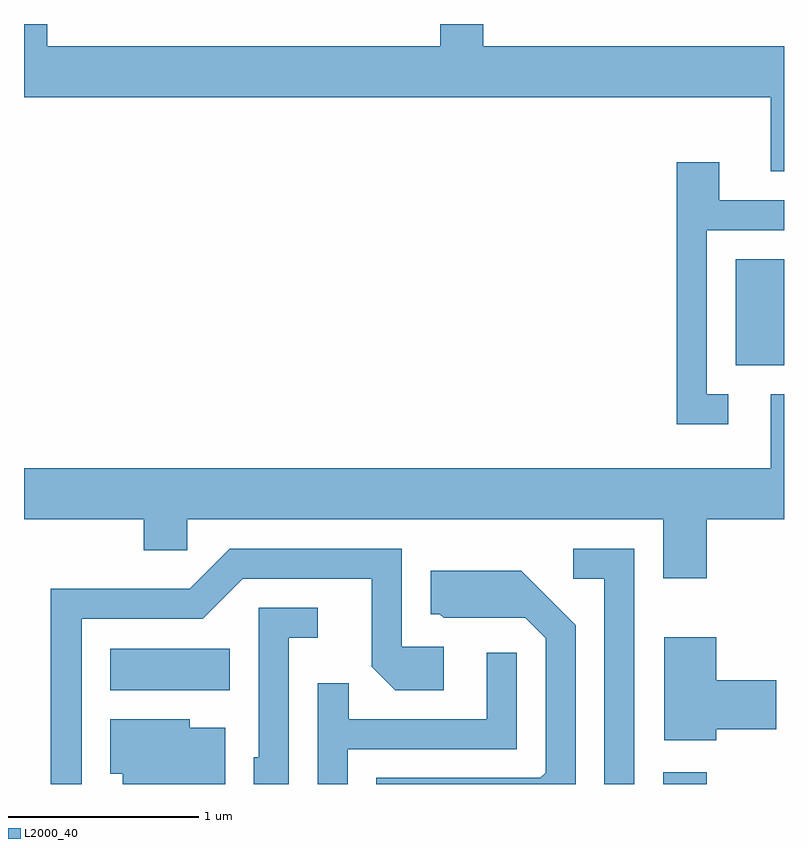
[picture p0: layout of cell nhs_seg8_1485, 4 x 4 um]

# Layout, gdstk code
import gdstk
lib = gdstk.Library(unit=1e-6, precision=1e-09)
def R(c, l, rs):  # rectangles x0, y0, x1, y1
    for r in rs: c.add(gdstk.rectangle(r[:2], r[2:], *l))
def P(c, l, *ps):  # polygons
    for p in ps: c.add(gdstk.Polygon(p, *l))
L2000_40 = (2000, 40)

nhs_seg8_1485 = lib.new_cell('nhs_seg8_1485')
R(nhs_seg8_1485, L2000_40, [(232.976,1848.342,233.204,1848.404), (230.066,1848.836,230.694,1849.054), (233.356,1850.546,233.611,1851.104)])
P(nhs_seg8_1485, L2000_40, [(233.611,1852.224),(232.029,1852.224),(232.029,1852.342),(231.801,1852.342),(231.801,1852.224),(229.734,1852.224),(229.734,1852.342),(229.611,1852.342),(229.611,1851.956),(233.541,1851.956),(233.541,1851.566),(233.611,1851.566)],
  [(233.318,1850.394),(233.204,1850.394),(233.204,1851.256),(233.611,1851.256),(233.611,1851.414),(233.269,1851.414),(233.269,1851.614),(233.046,1851.614),(233.046,1850.236),(233.318,1850.236)],
  [(233.611,1850.394),(233.541,1850.394),(233.541,1850.004),(229.611,1850.004),(229.611,1849.736),(230.241,1849.736),(230.241,1849.571),(230.469,1849.571),(230.469,1849.736),(232.976,1849.736),(232.976,1849.426),(233.204,1849.426),(233.204,1849.736),(233.611,1849.736)],
  [(229.914,1849.211),(230.552,1849.211),(230.762,1849.421),(231.441,1849.421),(231.441,1848.959),(231.564,1848.836),(231.819,1848.836),(231.819,1849.064),(231.599,1849.064),(231.599,1849.579),(230.694,1849.579),(230.484,1849.369),(229.751,1849.369),(229.751,1848.342),(229.914,1848.342)],
  [(232.824,1849.579),(232.503,1849.579),(232.503,1849.421),(232.666,1849.421),(232.666,1848.342),(232.824,1848.342)],
  [(232.514,1849.177),(232.227,1849.464),(231.751,1849.464),(231.751,1849.236),(231.799,1849.236),(231.819,1849.216),(232.249,1849.216),(232.356,1849.109),(232.356,1848.402),(232.329,1848.374),(231.466,1848.374),(231.466,1848.342),(232.514,1848.342)],
  [(231.004,1849.111),(231.158,1849.111),(231.158,1849.269),(230.846,1849.269),(230.846,1848.484),(230.821,1848.484),(230.821,1848.342),(231.004,1848.342)],
  [(233.254,1848.631),(233.569,1848.631),(233.569,1848.889),(233.254,1848.889),(233.254,1849.114),(232.981,1849.114),(232.981,1848.571),(233.254,1848.571)],
  [(231.314,1848.526),(232.204,1848.526),(232.204,1849.033),(232.046,1849.033),(232.046,1848.684),(231.319,1848.684),(231.319,1848.873),(231.156,1848.873),(231.156,1848.342),(231.314,1848.342)],
  [(230.669,1848.639),(230.484,1848.639),(230.484,1848.684),(230.066,1848.684),(230.066,1848.396),(230.131,1848.396),(230.131,1848.342),(230.669,1848.342)])

lib.write_gds('nhs_seg8_1485.gds')
